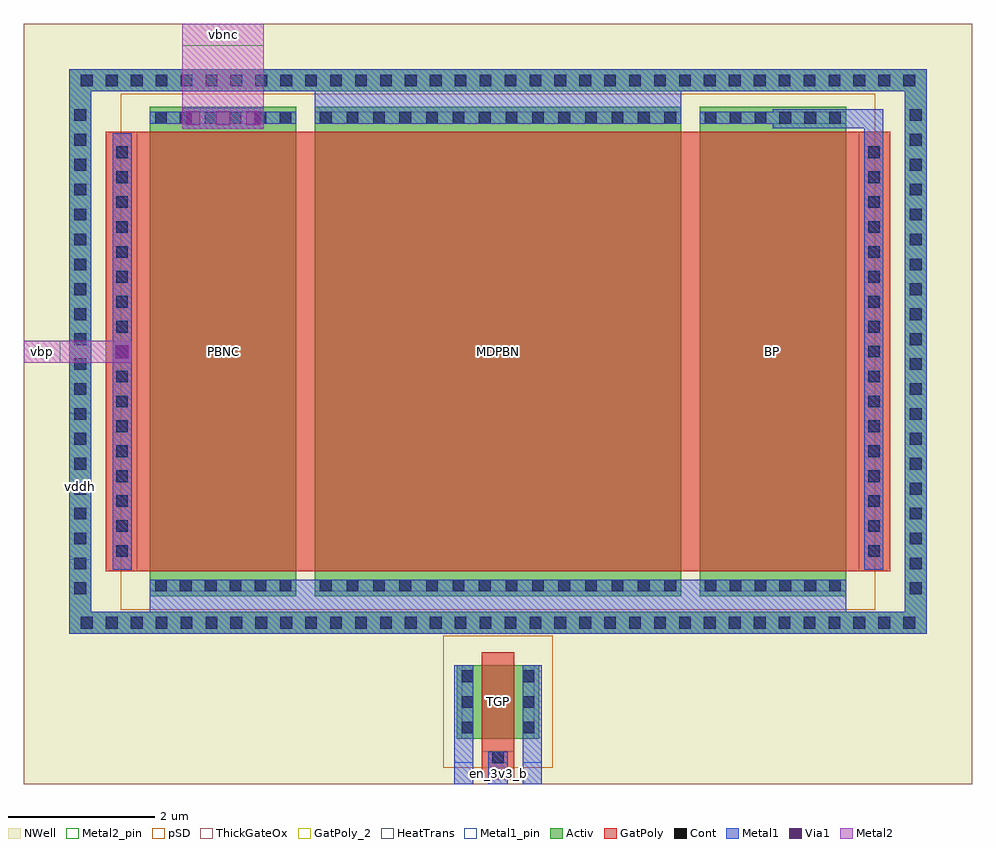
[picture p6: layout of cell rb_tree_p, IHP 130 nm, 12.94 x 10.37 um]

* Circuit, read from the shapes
.subckt rb_tree_p en_3v3_b iref ni vbnc vbp vddh
XM1 vbnc vbp vddh vddh sg13_hv_pmos w=2u l=6u
XM2 vddh vbp vddh vddh sg13_hv_pmos w=5u l=6u
XM3 ni en_3v3_b iref vddh sg13_hv_pmos w=1u l=0.45u
XM4 vbp vbp vddh vddh sg13_hv_pmos w=2u l=6u
.ends

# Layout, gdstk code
from math import pi, radians
import gdstk
lib = gdstk.Library(unit=1e-6, precision=1e-09)
def R(c, l, rs):  # rectangles x0, y0, x1, y1
    for r in rs: c.add(gdstk.rectangle(r[:2], r[2:], *l))
def A(c, l, x, y, w, h, nx, ny, dx, dy):  # array of equal rectangles
    R(c, l, [(x+i*dx, y+j*dy, x+i*dx+w, y+j*dy+h) for i in range(nx) for j in range(ny)])
Activ = (1, 0)
GatPoly = (5, 0)
GatPoly_2 = (5, 2)
Cont = (6, 0)
Metal1 = (8, 0)
Metal1_pin = (8, 2)
Metal2 = (10, 0)
Metal2_pin = (10, 2)
pSD = (14, 0)
Via1 = (19, 0)
NWell = (31, 0)
ThickGateOx = (44, 0)
HeatTrans = (51, 0)

rb_pmoshv_w2_l6 = lib.new_cell('rb_pmosHV_w2_l6')
R(rb_pmoshv_w2_l6, Activ, [(0,0,0.3,0.3), (0,0,6.68,2), (6.38,0,6.68,0.3)])
R(rb_pmoshv_w2_l6, GatPoly, [(0.34,-0.18,6.34,2.18)])
R(rb_pmoshv_w2_l6, GatPoly_2, [(0.34,-0.18,6.34,2.18)])
A(rb_pmoshv_w2_l6, Cont, 0.07, 0.07, 0.16, 0.16, 1, 6, 0, 0.34)
A(rb_pmoshv_w2_l6, Cont, 6.45, 0.07, 0.16, 0.16, 1, 6, 0, 0.34)
R(rb_pmoshv_w2_l6, Metal1, [(0.07,0,0.23,2), (6.45,0,6.61,2)])
R(rb_pmoshv_w2_l6, Metal1_pin, [(0.07,0,0.23,2), (6.45,0,6.61,2)])
R(rb_pmoshv_w2_l6, pSD, [(-0.18,-0.4,6.86,2.4)])
R(rb_pmoshv_w2_l6, NWell, [(-0.62,-0.62,7.3,2.62)])
R(rb_pmoshv_w2_l6, ThickGateOx, [(-0.62,-0.62,7.3,2.62)])
R(rb_pmoshv_w2_l6, HeatTrans, [(0.34,-0.18,6.34,2.18)])
rb_pmoshv_w2_l6.add(gdstk.Label('pmosHV', (3.34,1), layer=63, texttype=0))
rb_pmoshv_w2_l6.add(gdstk.Label('pmos', (3.34,1), layer=51, texttype=0))

rb_pmoshv_w5_l6 = lib.new_cell('rb_pmosHV_w5_l6')
R(rb_pmoshv_w5_l6, Activ, [(0,0,0.3,0.3), (0,0,6.68,5), (6.38,0,6.68,0.3)])
R(rb_pmoshv_w5_l6, GatPoly, [(0.34,-0.18,6.34,5.18)])
R(rb_pmoshv_w5_l6, GatPoly_2, [(0.34,-0.18,6.34,5.18)])
A(rb_pmoshv_w5_l6, Cont, 0.07, 0.07, 0.16, 0.16, 1, 4, 0, 0.36)
A(rb_pmoshv_w5_l6, Cont, 6.45, 0.07, 0.16, 0.16, 1, 4, 0, 0.36)
A(rb_pmoshv_w5_l6, Cont, 0.07, 1.515, 0.16, 0.16, 1, 3, 0, 0.36)
A(rb_pmoshv_w5_l6, Cont, 6.45, 1.515, 0.16, 0.16, 1, 3, 0, 0.36)
A(rb_pmoshv_w5_l6, Cont, 0.07, 2.6, 0.16, 0.16, 1, 3, 0, 0.36)
A(rb_pmoshv_w5_l6, Cont, 6.45, 2.6, 0.16, 0.16, 1, 3, 0, 0.36)
A(rb_pmoshv_w5_l6, Cont, 0.07, 3.685, 0.16, 0.16, 1, 3, 0, 0.36)
A(rb_pmoshv_w5_l6, Cont, 6.45, 3.685, 0.16, 0.16, 1, 3, 0, 0.36)
R(rb_pmoshv_w5_l6, Cont, [(0.07,4.77,0.23,4.93), (6.45,4.77,6.61,4.93)])
R(rb_pmoshv_w5_l6, Metal1, [(0.07,0,0.23,5), (6.45,0,6.61,5)])
R(rb_pmoshv_w5_l6, Metal1_pin, [(0.07,0,0.23,5), (6.45,0,6.61,5)])
R(rb_pmoshv_w5_l6, pSD, [(-0.18,-0.4,6.86,5.4)])
R(rb_pmoshv_w5_l6, NWell, [(-0.62,-0.62,7.3,5.62)])
R(rb_pmoshv_w5_l6, ThickGateOx, [(-0.62,-0.62,7.3,5.62)])
R(rb_pmoshv_w5_l6, HeatTrans, [(0.34,-0.18,6.34,5.18)])
rb_pmoshv_w5_l6.add(gdstk.Label('pmosHV', (3.34,2.5), layer=63, texttype=0))
rb_pmoshv_w5_l6.add(gdstk.Label('pmos', (3.34,2.5), layer=51, texttype=0))

rb_pmoshv_w1_l0p45 = lib.new_cell('rb_pmosHV_w1_l0p45')
R(rb_pmoshv_w1_l0p45, Activ, [(0,0,0.3,0.3), (0,0,1.13,1), (0.83,0,1.13,0.3)])
R(rb_pmoshv_w1_l0p45, GatPoly, [(0.34,-0.18,0.79,1.18)])
R(rb_pmoshv_w1_l0p45, GatPoly_2, [(0.34,-0.18,0.79,1.18)])
A(rb_pmoshv_w1_l0p45, Cont, 0.07, 0.07, 0.16, 0.16, 1, 3, 0, 0.35)
A(rb_pmoshv_w1_l0p45, Cont, 0.9, 0.07, 0.16, 0.16, 1, 3, 0, 0.35)
R(rb_pmoshv_w1_l0p45, Metal1, [(0.07,0,0.23,1), (0.9,0,1.06,1)])
R(rb_pmoshv_w1_l0p45, Metal1_pin, [(0.07,0,0.23,1), (0.9,0,1.06,1)])
R(rb_pmoshv_w1_l0p45, pSD, [(-0.18,-0.4,1.31,1.4)])
R(rb_pmoshv_w1_l0p45, NWell, [(-0.62,-0.62,1.75,1.62)])
R(rb_pmoshv_w1_l0p45, ThickGateOx, [(-0.62,-0.62,1.75,1.62)])
R(rb_pmoshv_w1_l0p45, HeatTrans, [(0.34,-0.18,0.79,1.18)])
rb_pmoshv_w1_l0p45.add(gdstk.Label('pmosHV', (0.565,0.5), layer=63, texttype=0))
rb_pmoshv_w1_l0p45.add(gdstk.Label('pmos', (0.565,0.5), layer=51, texttype=0))

rb_tree_p = lib.new_cell('rb_tree_p')
R(rb_tree_p, Activ, [(0.62,2.05,12.32,2.35), (0.62,2.35,0.92,9.45), (12.02,2.35,12.32,9.45), (0.62,9.45,12.32,9.75)])
R(rb_tree_p, GatPoly, [(6.245,0.06,6.695,0.62), (1.12,2.9,1.72,8.9), (11.22,2.9,11.82,8.9)])
A(rb_tree_p, Cont, 0.78, 2.12, 0.16, 0.16, 34, 2, 0.34, 7.4)
A(rb_tree_p, Cont, 0.69, 2.59, 0.16, 0.16, 1, 20, 0, 0.34)
A(rb_tree_p, Cont, 12.09, 2.59, 0.16, 0.16, 1, 20, 0, 0.34)
A(rb_tree_p, Cont, 1.26, 3.1, 0.16, 0.16, 1, 17, 0, 0.34)
A(rb_tree_p, Cont, 11.52, 3.1, 0.16, 0.16, 1, 17, 0, 0.34)
R(rb_tree_p, Cont, [(6.39,0.28,6.55,0.44)])
R(rb_tree_p, Metal1, [(5.875,0,6.135,1.62), (6.34,0,6.6,0.44), (6.805,0,7.065,1.62), (0.62,2.05,12.32,2.35), (1.72,2.05,11.22,2.79), (0.62,2.35,0.92,9.45), (12.02,2.35,12.32,9.45), (1.21,2.92,1.47,8.88), (11.47,2.92,11.73,8.88), (11.47,8.87,11.73,9.21), (2.165,8.94,3.275,9.23), (10.22,8.95,11.73,9.21), (3.97,9.01,8.97,9.45), (0.62,9.45,12.32,9.75)])
A(rb_tree_p, Metal1_pin, 5.875, 0, 0.26, 0.3, 3, 1, 0.465, 0)
R(rb_tree_p, Metal1_pin, [(0.62,3.06,0.92,5.06)])
R(rb_tree_p, Metal2, [(0,5.75,1.47,6.05), (2.165,8.94,3.275,10.37)])
R(rb_tree_p, Metal2_pin, [(0,5.75,0.5,6.05), (2.165,10.07,3.275,10.37)])
A(rb_tree_p, Via1, 2.215, 8.99, 0.19, 0.19, 3, 1, 0.41, 0)
R(rb_tree_p, Via1, [(1.245,5.805,1.435,5.995)])
R(rb_tree_p, NWell, [(0,0,12.94,10.37)])
R(rb_tree_p, ThickGateOx, [(0,0,12.94,10.37)])
rb_tree_p.add(gdstk.Reference(rb_pmoshv_w2_l6, (3.72,2.56), rotation=pi/2))
rb_tree_p.add(gdstk.Reference(rb_pmoshv_w5_l6, (8.97,2.56), rotation=pi/2))
rb_tree_p.add(gdstk.Reference(rb_pmoshv_w2_l6, (9.22,2.56), rotation=pi/2, x_reflection=True))
rb_tree_p.add(gdstk.Reference(rb_pmoshv_w1_l0p45, (5.905,1.62), x_reflection=True))
rb_tree_p.add(gdstk.Label('PBNC', (2.72,5.9), layer=63, texttype=0))
rb_tree_p.add(gdstk.Label('MDPBN', (6.47,5.9), layer=63, texttype=0))
rb_tree_p.add(gdstk.Label('BP', (10.22,5.9), layer=63, texttype=0))
rb_tree_p.add(gdstk.Label('TGP', (6.47,1.12), layer=63, texttype=0))
rb_tree_p.add(gdstk.Label('vbnc', (2.72,10.22), layer=10, texttype=25))
rb_tree_p.add(gdstk.Label('vbp', (0.25,5.9), layer=10, texttype=25))
rb_tree_p.add(gdstk.Label('vddh', (0.77,4.06), layer=8, texttype=25))
rb_tree_p.add(gdstk.Label('en_3v3_b', (6.47,0.15), layer=8, texttype=25))
rb_tree_p.add(gdstk.Label('iref', (6.005,0.15), layer=8, texttype=25))
rb_tree_p.add(gdstk.Label('ni', (6.935,0.15), layer=8, texttype=25))

lib.write_gds('rb_tree_p.gds')
